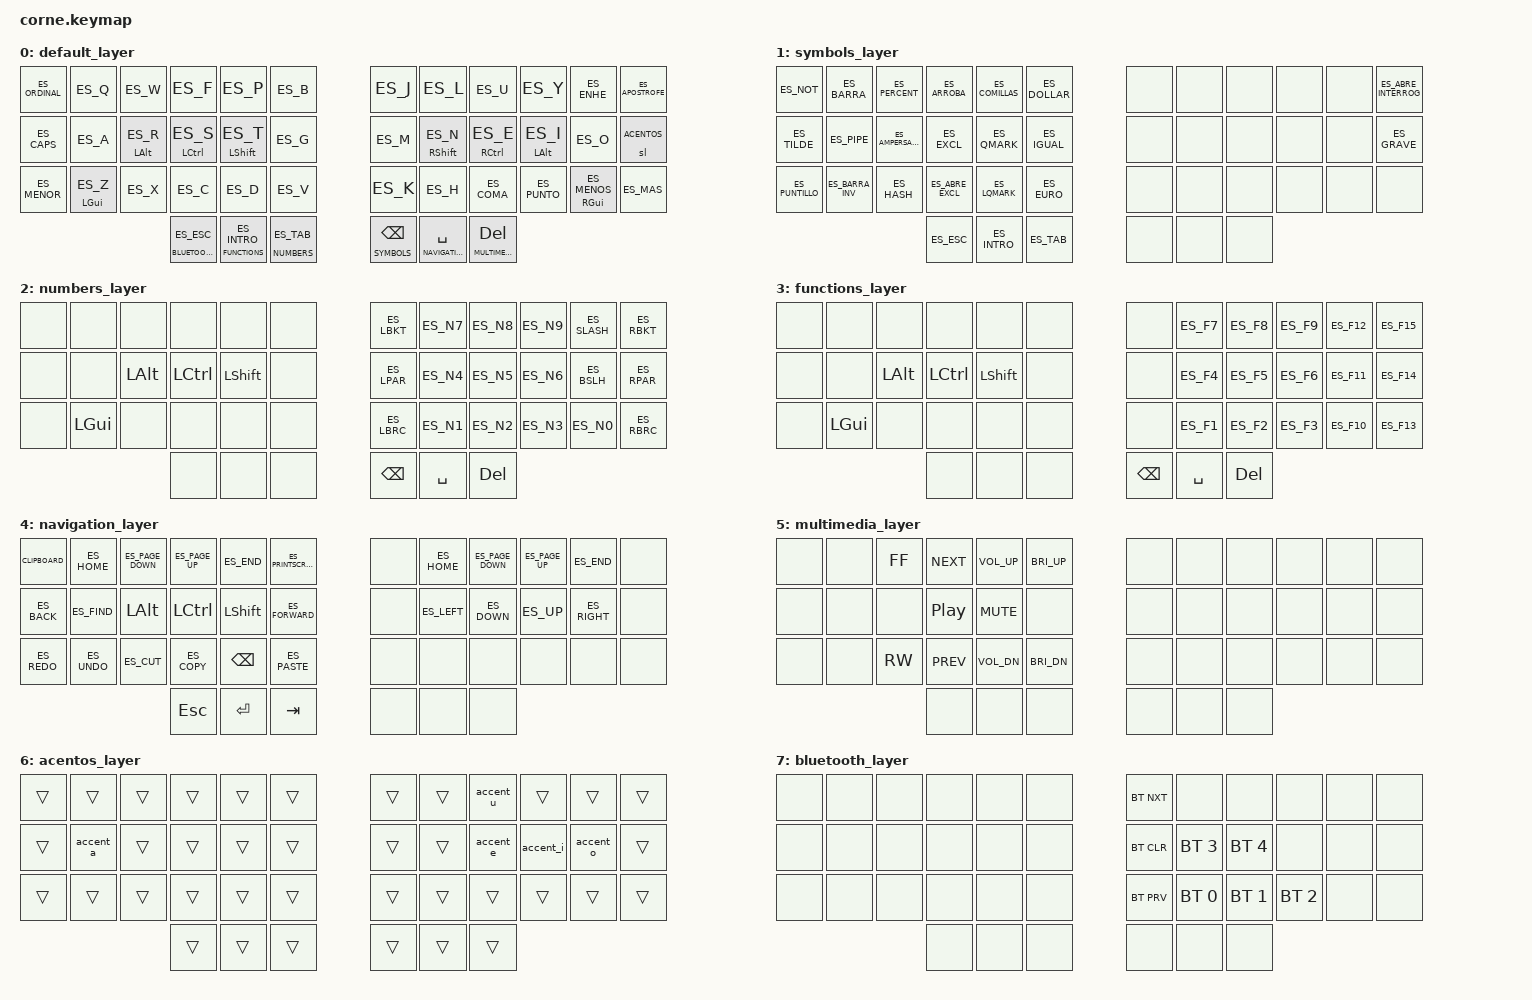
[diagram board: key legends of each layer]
/*
 * Copyright (c) 2020 The ZMK Contributors
 *
 * SPDX-License-Identifier: MIT
 */

#define COLEMAK 0
#define SYMBOLS 1
#define NUMBERS 2
#define FUNCTIONS 3
#define NAVIGATION 4
#define MULTIMEDIA 5
#define ACENTOS 6
#define BLUETOOTH 7

#define CLIPBOARD (LC(LS(ES_Z)))


#include <behaviors.dtsi>
#include <dt-bindings/zmk/keys.h>
#include <dt-bindings/zmk/bt.h>
#include "spanish.h"

#define ES_BACK (LA(ES_LEFT))
#define ES_FORWARD (LA(ES_RIGHT))
#define ES_UNDO (LC(ES_Z))
#define ES_REDO (LC(ES_Y))
#define CLIPBOARD (LC(LS(ES_Z)))
#define ES_FIND (LC(ES_F))
#define ES_CUT (LC(ES_X))
#define ES_COPY (LC(ES_C))
#define ES_PASTE (LC(ES_V))


&lt {
        quick-tap-ms = <300>;
};

&sl {
    release-after-ms = <500>;
};

#define COMBO(NAME, BINDINGS, KEYPOS) \
  combo_##NAME { \
    timeout-ms = <50>; \
    bindings = <BINDINGS>; \
    key-positions = <KEYPOS>; \
    layers = <0>; \
};

/ {
// -----------------------------------------------------------------------------------------
// |  0  |  1  |  2  |  3  |  4  |  5  |            |  6  |  7  |  8  |  9  |  10 |  11 |
// |  12 |  13 |  14 |  15 |  16 |  17 |            |  18 |  19 |  20 |  21 |  22 |  23 |
// |  24 |  25 |  26 |  27 |  28 |  29 |            |  30 |  31 |  32 |  33 |  34 |  35 |
//                   |  36 |  37 |  38 |            |  39 |  40 |  41 |

combos {
  compatible = "zmk,combos";
  
  COMBO(GM, &kp ES_PIPE, 17 18)

  COMBO(PB, &kp ES_ABRE_CORCH, 4 5)
  COMBO(JL, &kp ES_CIERRA_CORCH, 6 7)

  COMBO(PG, &kp ES_LPAR, 4 17)
  COMBO(ML, &kp ES_RPAR, 18 7)

  COMBO(DV, &kp ES_ABRE_LLAVE, 28 29)
  COMBO(KH, &kp ES_CIERRA_LLAVE, 30 31)

  COMBO(PH, &kp ES_BARRA_INV, 4 31)
  COMBO(DL, &kp ES_BARRA, 28 7)
};

macros {
    accent_a: acento_a {
        compatible = "zmk,behavior-macro";
        label = "macro acento a";
        #binding-cells = <0>;
        bindings =
            <&macro_press>,
            <&macro_tap>,
            <&kp ES_AGUDO &kp ES_A>,
            <&macro_release>;
    };

    accent_e: acento_e {
        compatible = "zmk,behavior-macro";
        label = "macro acento e";
        #binding-cells = <0>;
        bindings =
            <&macro_press>,
            <&macro_tap>,
            <&kp ES_AGUDO &kp ES_E>,
            <&macro_release>;
    };

    accent_i: acento_i {
        compatible = "zmk,behavior-macro";
        label = "macro acento i";
        #binding-cells = <0>;
        bindings =
            <&macro_press>,
            <&macro_tap>,
            <&kp ES_AGUDO &kp ES_I>,
            <&macro_release>;
    };

    accent_o: acento_o {
        compatible = "zmk,behavior-macro";
        label = "macro acento o";
        #binding-cells = <0>;
        bindings =
            <&macro_press>,
            <&macro_tap>,
            <&kp ES_AGUDO &kp ES_O>,
            <&macro_release>;
    };

    accent_u: acento_u {
        compatible = "zmk,behavior-macro";
        label = "macro acento u";
        #binding-cells = <0>;
        bindings =
            <&macro_press>,
            <&macro_tap>,
            <&kp ES_AGUDO &kp ES_U>,
            <&macro_release>;
    };
};

  behaviors {
          hm: homerow_mods {
              compatible = "zmk,behavior-hold-tap";
              label = "HOMEROW_MODS";
              #binding-cells = <2>;
              tapping-term-ms = <200>;
              quick-tap-ms = <200>;
              flavor = "tap-preferred";
              bindings = <&kp>, <&kp>;
          };

  };

keymap {
        compatible = "zmk,keymap";

        default_layer {
// -----------------------------------------------------------------------------------------
// |  º   |  Q  |  W  |  F  |  P  |  B  |             |  J  |  L  |  U  |  Y  |  Ñ  |  '  |
// | CAPS |  A  |  R  |  S  |  T  |  G  |             |  M  |  N  |  E  |  I  |  O  |  ´  |
// |  <   |  Z  |  X  |  C  |  D  |  V  |             |  K  |  H  |  ,  |  .  |  -  |  +  |
//  | ESC | FUNCTIONS-RET | NUMBERS-TAB |             | SYMBOLS-BSPC | NAVIGATION-SPACE | MULTIMEDIA-DEL |
                        bindings = <
   &kp ES_ORDINAL  &kp ES_Q       &kp ES_W       &kp ES_F              &kp ES_P                &kp ES_B                     &kp ES_J          &kp ES_L               &kp ES_U           &kp ES_Y       &kp ES_ENHE        &kp ES_APOSTROFE
   &kp ES_CAPS     &kp ES_A       &hm LALT ES_R  &hm LCTRL ES_S        &hm LSHFT ES_T          &kp ES_G                     &kp ES_M          &hm RSHFT ES_N         &hm RCTRL ES_E     &hm LALT ES_I  &kp ES_O           &sl ACENTOS
   &kp ES_MENOR    &hm LGUI ES_Z  &kp ES_X       &kp ES_C              &kp ES_D                &kp ES_V                     &kp ES_K          &kp ES_H               &kp ES_COMA        &kp ES_PUNTO   &hm RGUI ES_MENOS  &kp ES_MAS
                                                 &lt BLUETOOTH ES_ESC  &lt FUNCTIONS ES_INTRO  &lt NUMBERS ES_TAB           &lt SYMBOLS BSPC  &lt NAVIGATION SPACE   &lt MULTIMEDIA DEL
                        >;
                };

                symbols_layer {
// -----------------------------------------------------------------------------------------
// |  ¬  |  /  |  %  |  @  |  "  |  $  |              |     |     |     |     |     |  ¿  |
// |  ^  |  |  |  &  |  !  |  ?  |  =  |              |     |     |     |     |     |     |
// |  ·  |  \  |  #  |  ¡  |  ¿  |  €  |              |     |     |     |     |     |     |
//                   | ESC | RET | TAB |              |     |     |     |
                        bindings = <
   &kp ES_NOT      &kp ES_BARRA     &kp ES_PERCENT   &kp ES_ARROBA    &kp ES_COMILLAS &kp ES_DOLLAR           &none &none &none &none &none &kp ES_ABRE_INTERROG
   &kp ES_TILDE    &kp ES_PIPE      &kp ES_AMPERSAND &kp ES_EXCL      &kp ES_QMARK    &kp ES_IGUAL            &none &none &none &none &none &kp ES_GRAVE
   &kp ES_PUNTILLO &kp ES_BARRA_INV &kp ES_HASH      &kp ES_ABRE_EXCL &kp ES_LQMARK   &kp ES_EURO             &none &none &none &none &none &none
                                                     &kp ES_ESC       &kp ES_INTRO    &kp ES_TAB              &none &none &none 
                        >;
                };

                numbers_layer {
// -----------------------------------------------------------------------------------------
// |     |     |     |     |     |     |             |  [  |  7  |  8  |  9  |  /  |  ]  |
// |     |     | ALT | CTR | SFT |     |             |  (  |  4  |  5  |  6  |  \  |  )  |
// |     | WIN |     |     |     |     |             |  {  |  1  |  2  |  3  |  0  |  }  |
//                   |     |     |     |             | BSPC | SPACE | DEL |
                        bindings = <
   &none &none     &none     &none      &none      &none             &kp ES_LBKT  &kp ES_N7  &kp ES_N8   &kp ES_N9   &kp ES_SLASH  &kp ES_RBKT
   &none &none     &kp LALT  &kp LCTRL  &kp LSHFT  &none             &kp ES_LPAR  &kp ES_N4  &kp ES_N5   &kp ES_N6   &kp ES_BSLH   &kp ES_RPAR
   &none &kp LGUI  &none     &none      &none      &none             &kp ES_LBRC  &kp ES_N1  &kp ES_N2   &kp ES_N3   &kp ES_N0     &kp ES_RBRC
                             &none      &none      &none             &kp BSPC     &kp SPACE  &kp DEL
                        >;
                };


                functions_layer {
// -----------------------------------------------------------------------------------------
// |     |     |     |     |     |     |             |      |  F7   |  F8  |  F9  | F12 | F15 |
// |     |     | ALT | CTR | SFT |     |             |      |  F4   |  F5  |  F6  | F11 | F14 |
// |     | WIN |     |     |     |     |             |      |  F1   |  F2  |  F3  | F10 | F13 |
//                   |     |     |     |             | BSPC | SPACE | DEL  |
                        bindings = <
   &none  &none     &none     &none     &none     &none            &none     &kp ES_F7  &kp ES_F8  &kp ES_F9  &kp ES_F12  &kp ES_F15
   &none  &none     &kp LALT  &kp LCTRL &kp LSHFT &none            &none     &kp ES_F4  &kp ES_F5  &kp ES_F6  &kp ES_F11  &kp ES_F14
   &none  &kp LGUI  &none     &none     &none     &none            &none     &kp ES_F1  &kp ES_F2  &kp ES_F3  &kp ES_F10  &kp ES_F13
                              &none     &none     &none            &kp BSPC  &kp SPACE  &kp DEL
                        >;
                };

                navigation_layer {
// -----------------------------------------------------------------------------------------
// |  Clip  |  ini  |  PgDn |  PgUp |  fin  | Print |            |     |  ini  |  PgDn |  PgUp |  fin  |       |
// |  Back  | Find  |  ALT  |  CTR  |  SHF  | Fwrd  |            |     |   ←   |   ↓   |   ↑   |   →   |       |
// |  ReDo  | UnDo  |  Cut  |  Copy |  BkSp | Paste |            |     |       |       |       |       |       |
//                          |  ESC  |  RET  | TAB   |            |     |       |       |
                        bindings = <
   &kp CLIPBOARD  &kp ES_HOME  &kp ES_PAGE_DOWN &kp ES_PAGE_UP  &kp ES_END  &kp ES_PRINTSCREEN           &none &kp ES_HOME  &kp ES_PAGE_DOWN &kp ES_PAGE_UP  &kp ES_END   &none
   &kp ES_BACK    &kp ES_FIND  &kp LALT         &kp LCTRL       &kp LSHFT   &kp ES_FORWARD               &none &kp ES_LEFT  &kp ES_DOWN      &kp ES_UP       &kp ES_RIGHT &none
   &kp ES_REDO    &kp ES_UNDO  &kp ES_CUT       &kp ES_COPY     &kp BSPC    &kp ES_PASTE                 &none &none        &none            &none           &none        &none
                                                &kp ESC         &kp RET     &kp TAB                      &none &none        &none
                        >;
                };

                multimedia_layer {
// -----------------------------------------------------------------------------------------
// |     |     | ADELANTE | NEXT  | +VOL | +BRI |            |     |     |     |     |     |     |
// |     |     |          | PAUSE | MUTE |      |            |     |     |     |     |     |     |
// |     |     | ATRAS    | PREV  | -VOL | -BRI |            |     |     |     |     |     |     |
//                        |       |      |      |            |     |     |     |

bindings = <
   &none  &none  &kp C_FF  &kp C_NEXT  &kp C_VOL_UP  &kp C_BRI_UP          &none  &none  &none  &none  &none  &none
   &none  &none  &none     &kp C_PP    &kp C_MUTE    &none                 &none  &none  &none  &none  &none  &none
   &none  &none  &kp C_RW  &kp C_PREV  &kp C_VOL_DN  &kp C_BRI_DN          &none  &none  &none  &none  &none  &none
                           &none       &none         &none                 &none  &none  &none
                        >;
                };

                acentos_layer {
// -----------------------------------------------------------------------------------------
// |     |     |     |     |     |     |            |     |     |  ú  |     |     |     |
// |     |  á  |     |     |     |     |            |     |     |  é  |  í  |  ó  |     |
// |     |     |     |     |     |     |            |     |     |     |     |     |     |
//                   |     |     |     |            |     |     |     |

bindings = <
   &trans  &trans     &trans  &trans  &trans  &trans             &trans  &trans  &accent_u  &trans     &trans     &trans
   &trans  &accent_a  &trans  &trans  &trans  &trans             &trans  &trans  &accent_e  &accent_i  &accent_o  &trans
   &trans  &trans     &trans  &trans  &trans  &trans             &trans  &trans  &trans     &trans     &trans     &trans
                              &trans  &trans  &trans             &trans  &trans  &trans
                        >;
                };

                bluetooth_layer {
// -----------------------------------------------------------------------------------------
// |    |    |    |    |    |    |             | NEXT  |      |      |      |    |    |
// |    |    |    |    |    |    |             | CLEAR | BT-4 | BT-5 |      |    |    |
// |    |    |    |    |    |    |             | PREV  | BT-1 | BT-2 | BT-3 |    |    |
//                |    |    |    |             |       |      |      |
                        bindings = <
   &none  &none  &none  &none  &none  &none             &bt BT_NXT  &none         &none         &none         &none  &none
   &none  &none  &none  &none  &none  &none             &bt BT_CLR  &bt BT_SEL 3  &bt BT_SEL 4  &none         &none  &none
   &none  &none  &none  &none  &none  &none             &bt BT_PRV  &bt BT_SEL 0  &bt BT_SEL 1  &bt BT_SEL 2  &none  &none
                        &none  &none  &none             &none       &none         &none
   
                        >;
                };
        };
};
